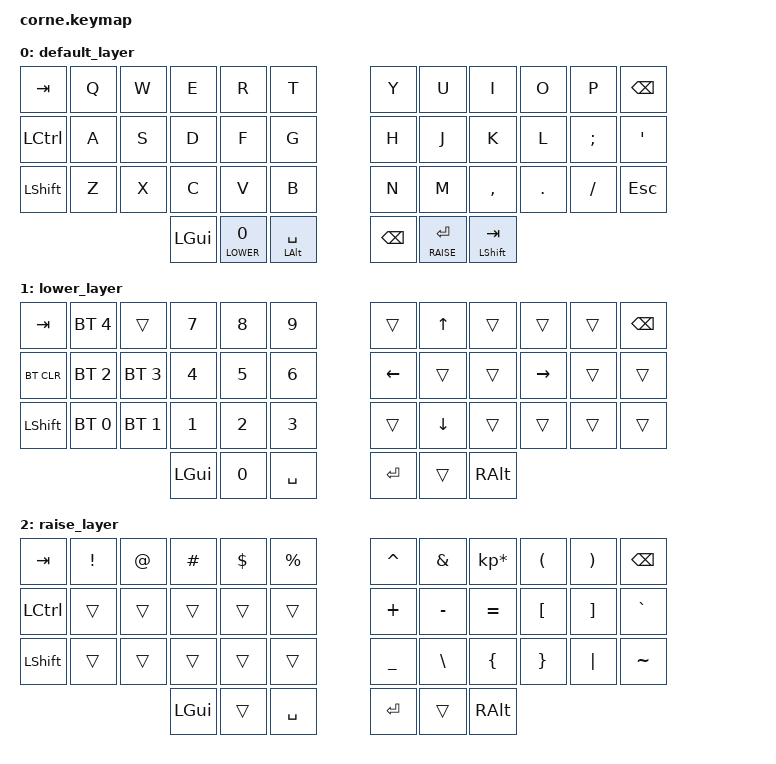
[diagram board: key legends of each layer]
/*
 * Copyright (c) 2020 The ZMK Contributors
 *
 * SPDX-License-Identifier: MIT
 */

#define DEFAULT 0
#define LOWER   1
#define RAISE   2

#include <behaviors.dtsi>
#include <dt-bindings/zmk/bt.h>
#include <dt-bindings/zmk/keys.h>

/ {
    combos {
        compatible = "zmk,combos";

        Capwords {
            bindings = <&caps_word>;
            key-positions = <38 39>;
        };
    };

    keymap {
        compatible = "zmk,keymap";

        default_layer {
            // -----------------------------------------------------------------------------------------
            // |  "TAB" |  Q  |  W  |  F  |  P  |  G  |   |  J  |  L   |  U  |  Y  |  ;  | "BKSP" |
            // | "CTRL" |  A  |  R  |  S  |  T  |  D  |   |  H  |  N   |  E  |  I  |  O  | " ' "  |
            // | "SHFT" |  Z  |  X  |  C  |  V  |  B  |   |  K  |  M   |  ,  |  .  |  /  | "ESC"  |
            //                    | GUI | 0 / LWR | SPC / ALT |   | ENT | BKSP / RSE | TAB / SHFT |

            bindings = <
&kp TAB    &kp Q  &kp W  &kp E     &kp R         &kp T             &kp Y          &kp U          &kp I           &kp O    &kp P          &kp BSPC
&kp LCTRL  &kp A  &kp S  &kp D     &kp F         &kp G             &kp H          &kp J          &kp K           &kp L    &kp SEMICOLON  &kp SQT
&kp LSHFT  &kp Z  &kp X  &kp C     &kp V         &kp B             &kp N          &kp M          &kp COMMA       &kp DOT  &kp FSLH       &kp ESC
                         &kp LGUI  &lt LOWER N0  &mt LALT SPACE    &kp BACKSPACE  &lt RAISE RET  &mt LSHIFT TAB
            >;
        };

        lower_layer {
            // -----------------------------------------------------------------------------------------
            // |  TAB | BT5 |     |  7  |  8  |  9  |   |     | up  |     |     |     | BKSP |
            // | BTCLR| BT3 | BT4 |  4  |  5  |  6  |   | LFT |     | RGT |     |     |      |
            // | SHFT | BT1 | BT2 |  1  |  2  |  3  |   |     | DWN |     |     |     |      |
            //                    | GUI |  0  | SPC |   | ENT |     | ALT |

            bindings = <
&kp TAB     &bt BT_SEL 4  &trans        &kp N7    &kp N8  &kp N9       &trans    &kp UP    &trans    &trans           &trans  &kp BSPC
&bt BT_CLR  &bt BT_SEL 2  &bt BT_SEL 3  &kp N4    &kp N5  &kp N6       &kp LEFT  &trans    &trans    &kp RIGHT_ARROW  &trans  &trans
&kp LSHFT   &bt BT_SEL 0  &bt BT_SEL 1  &kp N1    &kp N2  &kp N3       &trans    &kp DOWN  &trans    &trans           &trans  &trans
                                        &kp LGUI  &kp N0  &kp SPACE    &kp RET   &trans    &kp RALT
            >;
        };

        raise_layer {
            // -----------------------------------------------------------------------------------------
            // |  TAB |  !  |  @  |  #  |  $  |  %  |   |  ^  |  &  |  *  |  (  |  )  | BKSP |
            // | CTRL |     |     |     |     |     |   |  +  |  -  |  =  |  [  |  ]  |  `   |
            // | SHFT |     |     |     |     |     |   |  _  |  \  |  {  |  }  | "|" |  ~   |
            //                    | GUI |     | SPC |   | ENT |     | ALT |

            bindings = <
&kp TAB    &kp EXCL  &kp AT  &kp HASH  &kp DLLR  &kp PRCNT    &kp CARET  &kp AMPS   &kp KP_MULTIPLY  &kp LPAR  &kp RPAR  &kp BSPC
&kp LCTRL  &trans    &trans  &trans    &trans    &trans       &kp PLUS   &kp MINUS  &kp EQUAL        &kp LBKT  &kp RBKT  &kp GRAVE
&kp LSHFT  &trans    &trans  &trans    &trans    &trans       &kp UNDER  &kp BSLH   &kp LBRC         &kp RBRC  &kp PIPE  &kp TILDE
                             &kp LGUI  &trans    &kp SPACE    &kp RET    &trans     &kp RALT
            >;
        };
    };
};
